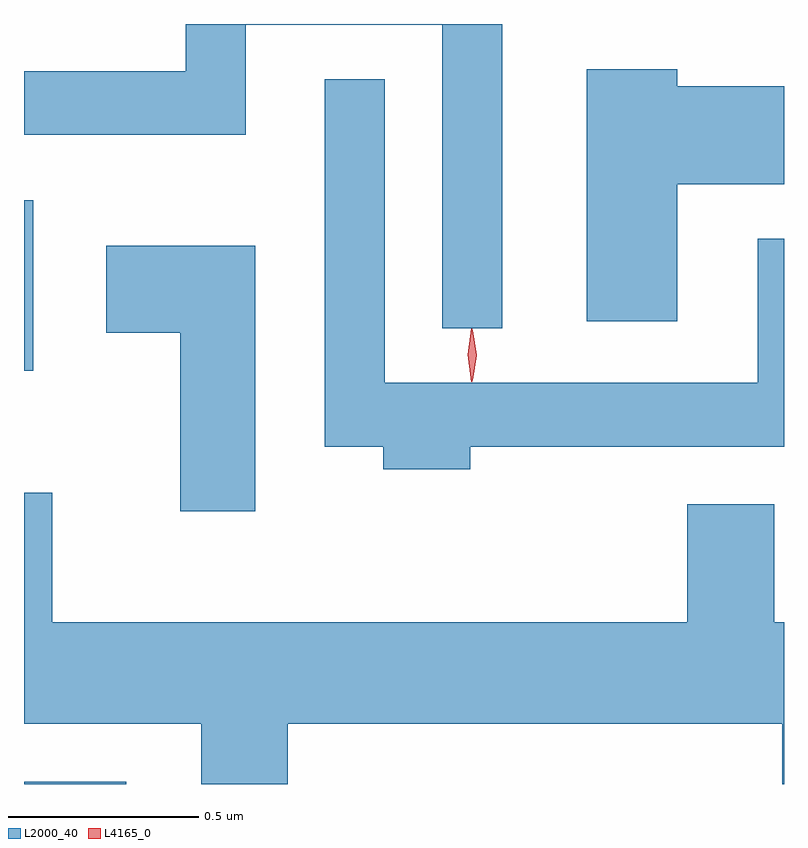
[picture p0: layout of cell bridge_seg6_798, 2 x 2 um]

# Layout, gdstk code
import gdstk
lib = gdstk.Library(unit=1e-6, precision=1e-09)
def R(c, l, rs):  # rectangles x0, y0, x1, y1
    for r in rs: c.add(gdstk.rectangle(r[:2], r[2:], *l))
def P(c, l, *ps):  # polygons
    for p in ps: c.add(gdstk.Polygon(p, *l))
L2000_40 = (2000, 40)
L4165_0 = (4165, 0)

bridge_seg6_798 = lib.new_cell('bridge_seg6_798')
R(bridge_seg6_798, L2000_40, [(418.015,1592.058,418.284,1592.064), (418.015,1593.146,418.039,1593.594)])
P(bridge_seg6_798, L2000_40, [(419.274,1594.058),(418.441,1594.058),(418.441,1593.934),(418.015,1593.934),(418.015,1593.766),(418.599,1593.766),(418.599,1594.056),(419.116,1594.056),(419.116,1593.258),(419.274,1593.258)],
  [(419.734,1593.636),(420.015,1593.636),(420.015,1593.894),(419.734,1593.894),(419.734,1593.939),(419.496,1593.939),(419.496,1593.276),(419.734,1593.276)],
  [(419.189,1592.946),(420.015,1592.946),(420.015,1593.493),(419.946,1593.493),(419.946,1593.114),(418.964,1593.114),(418.964,1593.913),(418.806,1593.913),(418.806,1592.946),(418.961,1592.946),(418.961,1592.886),(419.189,1592.886)],
  [(418.624,1593.474),(418.231,1593.474),(418.231,1593.246),(418.426,1593.246),(418.426,1592.776),(418.624,1592.776)],
  [(418.709,1592.216),(420.011,1592.216),(420.011,1592.058),(420.015,1592.058),(420.015,1592.484),(419.989,1592.484),(419.989,1592.794),(419.761,1592.794),(419.761,1592.484),(418.089,1592.484),(418.089,1592.824),(418.015,1592.824),(418.015,1592.216),(418.481,1592.216),(418.481,1592.058),(418.709,1592.058)])
P(bridge_seg6_798, L4165_0, [(419.195,1593.119),(419.195,1593.12),(419.185,1593.186),(419.195,1593.252),(419.195,1593.253),(419.196,1593.252),(419.206,1593.186),(419.196,1593.12)],
  [(419.192,1593.117),(419.183,1593.187),(419.192,1593.256),(419.193,1593.256),(419.194,1593.256),(419.203,1593.187),(419.194,1593.117),(419.193,1593.117)])

lib.write_gds('bridge_seg6_798.gds')
